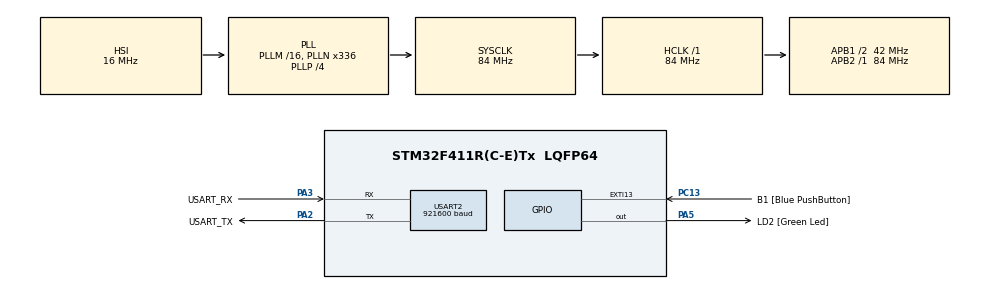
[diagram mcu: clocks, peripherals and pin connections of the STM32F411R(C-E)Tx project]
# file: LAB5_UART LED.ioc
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Dma.Request0=USART2_RX
Dma.Request1=USART2_TX
Dma.USART2_RX.0.Direction=DMA_PERIPH_TO_MEMORY
Dma.USART2_RX.0.FIFOMode=DMA_FIFOMODE_DISABLE
Dma.USART2_RX.0.Instance=DMA1_Stream5
Dma.USART2_RX.0.MemDataAlignment=DMA_MDATAALIGN_BYTE
Dma.USART2_RX.0.MemInc=DMA_MINC_ENABLE
Dma.USART2_RX.0.Mode=DMA_CIRCULAR
Dma.USART2_RX.0.PeriphDataAlignment=DMA_PDATAALIGN_BYTE
Dma.USART2_RX.0.PeriphInc=DMA_PINC_DISABLE
Dma.USART2_RX.0.Priority=DMA_PRIORITY_LOW
Dma.USART2_TX.1.Direction=DMA_MEMORY_TO_PERIPH
Dma.USART2_TX.1.FIFOMode=DMA_FIFOMODE_DISABLE
Dma.USART2_TX.1.Instance=DMA1_Stream6
Dma.USART2_TX.1.MemDataAlignment=DMA_MDATAALIGN_BYTE
Dma.USART2_TX.1.MemInc=DMA_MINC_ENABLE
Dma.USART2_TX.1.Mode=DMA_NORMAL
Dma.USART2_TX.1.PeriphDataAlignment=DMA_PDATAALIGN_BYTE
Dma.USART2_TX.1.PeriphInc=DMA_PINC_DISABLE
Dma.USART2_TX.1.Priority=DMA_PRIORITY_LOW
Mcu.Family=STM32F4
Mcu.Name=STM32F411R(C-E)Tx
Mcu.Package=LQFP64
NVIC.DMA1_Stream5_IRQn=true\:0\:0\:false\:false\:true\:false\:true\:true
NVIC.DMA1_Stream6_IRQn=true\:0\:0\:false\:false\:true\:false\:true\:true
NVIC.PriorityGroup=NVIC_PRIORITYGROUP_0
NVIC.USART2_IRQn=true\:0\:0\:false\:false\:true\:true\:true\:true
PA13.GPIO_Label=TMS
PA13.Signal=SYS_JTMS-SWDIO
PA14.GPIO_Label=TCK
PA14.Signal=SYS_JTCK-SWCLK
PA2.GPIO_Label=USART_TX
PA2.Mode=Asynchronous
PA2.Signal=USART2_TX
PA3.GPIO_Label=USART_RX
PA3.Mode=Asynchronous
PA3.Signal=USART2_RX
PA5.GPIO_Label=LD2 [Green Led]
PA5.Signal=GPIO_Output
PB3.GPIO_Label=SWO
PB3.Signal=SYS_JTDO-SWO
PC13-ANTI_TAMP.GPIO_Label=B1 [Blue PushButton]
PC13-ANTI_TAMP.GPIO_ModeDefaultEXTI=GPIO_MODE_IT_FALLING
PC13-ANTI_TAMP.Signal=GPXTI13
PC14-OSC32_IN.Signal=RCC_OSC32_IN
PC15-OSC32_OUT.Signal=RCC_OSC32_OUT
PH0\ -\ OSC_IN.Signal=RCC_OSC_IN
PH1\ -\ OSC_OUT.Signal=RCC_OSC_OUT
ProjectManager.HeapSize=0x200
ProjectManager.StackSize=0x400
ProjectManager.TargetToolchain=STM32CubeIDE
RCC.48MHZClocksFreq_Value=84000000
RCC.AHBFreq_Value=84000000
RCC.APB1CLKDivider=RCC_HCLK_DIV2
RCC.APB1Freq_Value=42000000
RCC.APB1TimFreq_Value=84000000
RCC.APB2Freq_Value=84000000
RCC.APB2TimFreq_Value=84000000
RCC.CortexFreq_Value=84000000
RCC.FLatency-AdvancedSettings=FLASH_LATENCY_2
RCC.HCLKFreq_Value=84000000
RCC.HSE_VALUE=8000000
RCC.HSI_VALUE=16000000
RCC.LSE_VALUE=32768
RCC.PLLN=336
RCC.PLLP=RCC_PLLP_DIV4
RCC.SYSCLKFreq_VALUE=84000000
RCC.SYSCLKSource=RCC_SYSCLKSOURCE_PLLCLK
RCC.VCOOutputFreq_Value=336000000
USART2.BaudRate=921600
USART2.StopBits=STOPBITS_1
USART2.VirtualMode=VM_ASYNC
board=NUCLEO-F411RE

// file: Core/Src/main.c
/* USER CODE BEGIN Header */
/**
  ******************************************************************************
  * @file           : main.c
  * @brief          : Main program body
  ******************************************************************************
  * @attention
  *
  * Copyright (c) 2023 STMicroelectronics.
  * All rights reserved.
  *
  * This software is licensed under terms that can be found in the LICENSE file
  * in the root directory of this software component.
  * If no LICENSE file comes with this software, it is provided AS-IS.
  *
  ******************************************************************************
  */
/* USER CODE END Header */
#include "main.h"

/* USER CODE BEGIN Includes */

#include "stdio.h"
#include "string.h"

/* USER CODE END Includes */

UART_HandleTypeDef huart2;
DMA_HandleTypeDef hdma_usart2_rx;
DMA_HandleTypeDef hdma_usart2_tx;

/* USER CODE BEGIN PV */

uint16_t Hz = 5;
float millisec;

uint8_t RxBuffer[100];
uint8_t TxBuffer[500];
uint32_t timestamp = 0;

int statePin;
int textState;
uint8_t state = 'x';
int condition = 1;
int openclose = 1;
int button;

/* USER CODE END PV */

void SystemClock_Config(void);
static void MX_GPIO_Init(void);
static void MX_DMA_Init(void);
static void MX_USART2_UART_Init(void);
/* USER CODE BEGIN PFP */

void DummyTask();
void UARTDMAConfig();
void statePress();
void StateOpenLED(button);

/* USER CODE END PFP */

int main(void)
{

  /* MCU Configuration--------------------------------------------------------*/

  /* Reset of all peripherals, Initializes the Flash interface and the Systick. */
  HAL_Init();

  /* Configure the system clock */
  SystemClock_Config();

  /* Initialize all configured peripherals */
  MX_GPIO_Init();
  MX_DMA_Init();
  MX_USART2_UART_Init();
  /* USER CODE BEGIN 2 */

  uint8_t text[] = "if Press 0 : LED Control\r\nif Press 1 : Button Status   \r\n \r\n";
  HAL_UART_Transmit(&huart2, text, 60 , 10);

  UARTDMAConfig();

  /* USER CODE END 2 */

  /* Infinite loop */
  /* USER CODE BEGIN WHILE */
  while (1)
  {
	  DummyTask();
	  statePin = HAL_GPIO_ReadPin(GPIOC, GPIO_PIN_13);
	  if (openclose == 1)
	  {
		  DummyTask();
	  }
	  else if (openclose == 0)
	  {
		  HAL_GPIO_WritePin(GPIOA, GPIO_PIN_5,0);
	  }
    /* USER CODE END WHILE */

  }
}

void SystemClock_Config(void)
{
  RCC_OscInitTypeDef RCC_OscInitStruct = {0};
  RCC_ClkInitTypeDef RCC_ClkInitStruct = {0};

  /** Configure the main internal regulator output voltage
  */
  __HAL_RCC_PWR_CLK_ENABLE();
  __HAL_PWR_VOLTAGESCALING_CONFIG(PWR_REGULATOR_VOLTAGE_SCALE1);

  /** Initializes the RCC Oscillators according to the specified parameters
  * in the RCC_OscInitTypeDef structure.
  */
  RCC_OscInitStruct.OscillatorType = RCC_OSCILLATORTYPE_HSI;
  RCC_OscInitStruct.HSIState = RCC_HSI_ON;
  RCC_OscInitStruct.HSICalibrationValue = RCC_HSICALIBRATION_DEFAULT;
  RCC_OscInitStruct.PLL.PLLState = RCC_PLL_ON;
  RCC_OscInitStruct.PLL.PLLSource = RCC_PLLSOURCE_HSI;
  RCC_OscInitStruct.PLL.PLLM = 16;
  RCC_OscInitStruct.PLL.PLLN = 336;
  RCC_OscInitStruct.PLL.PLLP = RCC_PLLP_DIV4;
  RCC_OscInitStruct.PLL.PLLQ = 4;
  if (HAL_RCC_OscConfig(&RCC_OscInitStruct) != HAL_OK)
  {
    Error_Handler();
  }

  /** Initializes the CPU, AHB and APB buses clocks
  */
  RCC_ClkInitStruct.ClockType = RCC_CLOCKTYPE_HCLK|RCC_CLOCKTYPE_SYSCLK
                              |RCC_CLOCKTYPE_PCLK1|RCC_CLOCKTYPE_PCLK2;
  RCC_ClkInitStruct.SYSCLKSource = RCC_SYSCLKSOURCE_PLLCLK;
  RCC_ClkInitStruct.AHBCLKDivider = RCC_SYSCLK_DIV1;
  RCC_ClkInitStruct.APB1CLKDivider = RCC_HCLK_DIV2;
  RCC_ClkInitStruct.APB2CLKDivider = RCC_HCLK_DIV1;

  if (HAL_RCC_ClockConfig(&RCC_ClkInitStruct, FLASH_LATENCY_2) != HAL_OK)
  {
    Error_Handler();
  }
}

static void MX_USART2_UART_Init(void)
{

  huart2.Instance = USART2;
  huart2.Init.BaudRate = 921600;
  huart2.Init.WordLength = UART_WORDLENGTH_8B;
  huart2.Init.StopBits = UART_STOPBITS_1;
  huart2.Init.Parity = UART_PARITY_NONE;
  huart2.Init.Mode = UART_MODE_TX_RX;
  huart2.Init.HwFlowCtl = UART_HWCONTROL_NONE;
  huart2.Init.OverSampling = UART_OVERSAMPLING_16;
  if (HAL_UART_Init(&huart2) != HAL_OK)
  {
    Error_Handler();
  }

}

static void MX_DMA_Init(void)
{

  /* DMA controller clock enable */
  __HAL_RCC_DMA1_CLK_ENABLE();

  /* DMA interrupt init */
  /* DMA1_Stream5_IRQn interrupt configuration */
  HAL_NVIC_SetPriority(DMA1_Stream5_IRQn, 0, 0);
  HAL_NVIC_EnableIRQ(DMA1_Stream5_IRQn);
  /* DMA1_Stream6_IRQn interrupt configuration */
  HAL_NVIC_SetPriority(DMA1_Stream6_IRQn, 0, 0);
  HAL_NVIC_EnableIRQ(DMA1_Stream6_IRQn);

}

static void MX_GPIO_Init(void)
{
  GPIO_InitTypeDef GPIO_InitStruct = {0};

  /* GPIO Ports Clock Enable */
  __HAL_RCC_GPIOC_CLK_ENABLE();
  __HAL_RCC_GPIOH_CLK_ENABLE();
  __HAL_RCC_GPIOA_CLK_ENABLE();
  __HAL_RCC_GPIOB_CLK_ENABLE();

  /*Configure GPIO pin Output Level */
  HAL_GPIO_WritePin(LD2_GPIO_Port, LD2_Pin, GPIO_PIN_RESET);

  /*Configure GPIO pin : B1_Pin */
  GPIO_InitStruct.Pin = B1_Pin;
  GPIO_InitStruct.Mode = GPIO_MODE_IT_FALLING;
  GPIO_InitStruct.Pull = GPIO_NOPULL;
  HAL_GPIO_Init(B1_GPIO_Port, &GPIO_InitStruct);

  /*Configure GPIO pin : LD2_Pin */
  GPIO_InitStruct.Pin = LD2_Pin;
  GPIO_InitStruct.Mode = GPIO_MODE_OUTPUT_PP;
  GPIO_InitStruct.Pull = GPIO_NOPULL;
  GPIO_InitStruct.Speed = GPIO_SPEED_FREQ_LOW;
  HAL_GPIO_Init(LD2_GPIO_Port, &GPIO_InitStruct);

}

/* USER CODE BEGIN 4 */

void UARTDMAConfig()
{
	//start UART in DMA Mode
	HAL_UART_Receive_DMA(&huart2, RxBuffer, 1);
}

void HAL_UART_RxCpltCallback(UART_HandleTypeDef *huart)
{
	if(huart == &huart2)
	{
		RxBuffer[1] = '\0';
		if(RxBuffer[0]=='x')button = 'x';
		else if(RxBuffer[0]=='0')button = '0';
		else if(RxBuffer[0]=='1')button = '1';
		else if(RxBuffer[0]=='a')button = 'a';
		else if(RxBuffer[0]=='s')button = 's';
		else if(RxBuffer[0]=='d')
		{
			button = 'd';
			if (openclose == 1)
			{
				openclose = 0;
			}
			else if (openclose == 0)
			{
				openclose = 1;
			}
		}
		else button = 'z';

		StateOpenLED(button);
	}
}

void StateOpenLED(state)
{
	switch(state)
	{
		case 'x':
		{
			if (condition == 2 || condition == 1 || condition == 3)
			{
			sprintf((char*)TxBuffer, "if Press 0 : LED Control\r\nif Press 1 : Button Status \r\n-----------------------\r\n");
			HAL_UART_Transmit_DMA(&huart2, TxBuffer, strlen((char*)TxBuffer));
			condition = 1;
			}
			else
			{
			sprintf((char*)TxBuffer, "Press something again please\r\nplease press x for back\r\n-----------------------\r\n");
			HAL_UART_Transmit_DMA(&huart2, TxBuffer, strlen((char*)TxBuffer));
			condition = 2;
			}
		}
		break;

		case '0':
		{
			if (condition == 1)
			{
			sprintf((char*)TxBuffer, "  ===== LED Control =====\r\nPress a : speed up +1 Hz \r\nPress s : speed down -1 Hz \r\nPress d : On/off \r\nPress x : back \r\n-----------------------\r\n");
			HAL_UART_Transmit_DMA(&huart2, TxBuffer, strlen((char*)TxBuffer));
			condition = 2;
			}
			else
			{
			sprintf((char*)TxBuffer, "Press something again please\r\nplease press x for back\r\n-----------------------\r\n");
			HAL_UART_Transmit_DMA(&huart2, TxBuffer, strlen((char*)TxBuffer));
			condition = 2;
			}
		}
		break;

		case '1':
		{
			if(condition == 1 || condition == 3 && statePin == 1)
			{
			sprintf((char*)TxBuffer, "  ===== Button Status =====\r\nstate of blue button : unpress \r\nif Press x :back \r\n-----------------------\r\n");
			HAL_UART_Transmit_DMA(&huart2, TxBuffer, strlen((char*)TxBuffer));
			condition = 3;
			}
			else if(condition == 1 || condition == 3 && statePin == 0)
			{
			sprintf((char*)TxBuffer, "  ===== Button Status =====\r\nstate of blue button : press \r\nif Press x :back \r\n-----------------------\r\n");
			HAL_UART_Transmit_DMA(&huart2, TxBuffer, strlen((char*)TxBuffer));
			condition = 3;
			}
			else
			{
			sprintf((char*)TxBuffer, "Press something again please\r\nplease press x for back\r\n-----------------------\r\n");
			HAL_UART_Transmit_DMA(&huart2, TxBuffer, strlen((char*)TxBuffer));
			condition = 2;
			}
		}
		break;

		case 'z':
		{
			if (condition == 1 ||condition == 0 ||condition == 2 ||condition == 3 )
			{
			sprintf((char*)TxBuffer, "Press something again please\r\nplease press x for back\r\n-----------------------\r\n");
			HAL_UART_Transmit_DMA(&huart2, TxBuffer, strlen((char*)TxBuffer));
			condition = 2;
			}
		}
		break;

		case 'a':
		{
			if(condition == 2)
			{
			Hz = Hz + 1;
			sprintf((char*)TxBuffer, "frequancy : %d Hz \r\n-----------------------\r\n", Hz);
			HAL_UART_Transmit_DMA(&huart2, TxBuffer, strlen((char*)TxBuffer));
			condition = 2;
			}
			else
			{
			sprintf((char*)TxBuffer, "Press something again please\r\nplease press x for back\r\n-----------------------\r\n");
			HAL_UART_Transmit_DMA(&huart2, TxBuffer, strlen((char*)TxBuffer));
			condition = 2;
			}
		}
		break;

		case 's':
		{
			if(condition == 2 && Hz >= 2)
			{
			Hz = Hz - 1;
			sprintf((char*)TxBuffer, "frequancy : %d Hz \r\n-----------------------\r\n", Hz);
			HAL_UART_Transmit_DMA(&huart2, TxBuffer, strlen((char*)TxBuffer));
			condition = 2;
			}
			else if(condition == 2 && Hz == 1)
			{
			Hz = 1;
			sprintf((char*)TxBuffer, "frequancy less than 1 Hz\r\nplease press a for speed up +1 Hz\r\n-----------------------\r\n");
			HAL_UART_Transmit_DMA(&huart2, TxBuffer, strlen((char*)TxBuffer));
			condition = 2;
			}
			else
			{
			sprintf((char*)TxBuffer, "Press something again please\r\nplease press x for back\r\n-----------------------\r\n");
			HAL_UART_Transmit_DMA(&huart2, TxBuffer, strlen((char*)TxBuffer));
			condition = 2;
			}
		}
		break;

		case 'd':
		{
			if(condition == 2 && openclose == 1)
			{
			sprintf((char*)TxBuffer, "open LED \r\n-----------------------\r\n");
			HAL_UART_Transmit_DMA(&huart2, TxBuffer, strlen((char*)TxBuffer));
			condition = 2;
			}
			else if(condition == 2 && openclose == 0)
			{
			sprintf((char*)TxBuffer, "close LED \r\nyou can press d for open LED \r\n-----------------------\r\n");
			HAL_UART_Transmit_DMA(&huart2, TxBuffer, strlen((char*)TxBuffer));
			condition = 2;
			}
			else
			{
			sprintf((char*)TxBuffer, "Press something again please\r\nplease press x for back\r\n-----------------------\r\n");
			HAL_UART_Transmit_DMA(&huart2, TxBuffer, strlen((char*)TxBuffer));
			condition = 2;
			}
		}
		break;
	}
}

void DummyTask()
{
	static uint32_t timestamp = 0;
	if(HAL_GetTick()>=timestamp)
	{
		millisec = (1.0/Hz)*500;
		timestamp = HAL_GetTick()+ millisec;
		HAL_GPIO_TogglePin(LD2_GPIO_Port, LD2_Pin);
	}
}

/* USER CODE END 4 */

void Error_Handler(void)
{
  __disable_irq();
  while (1)
  {
  }
}
